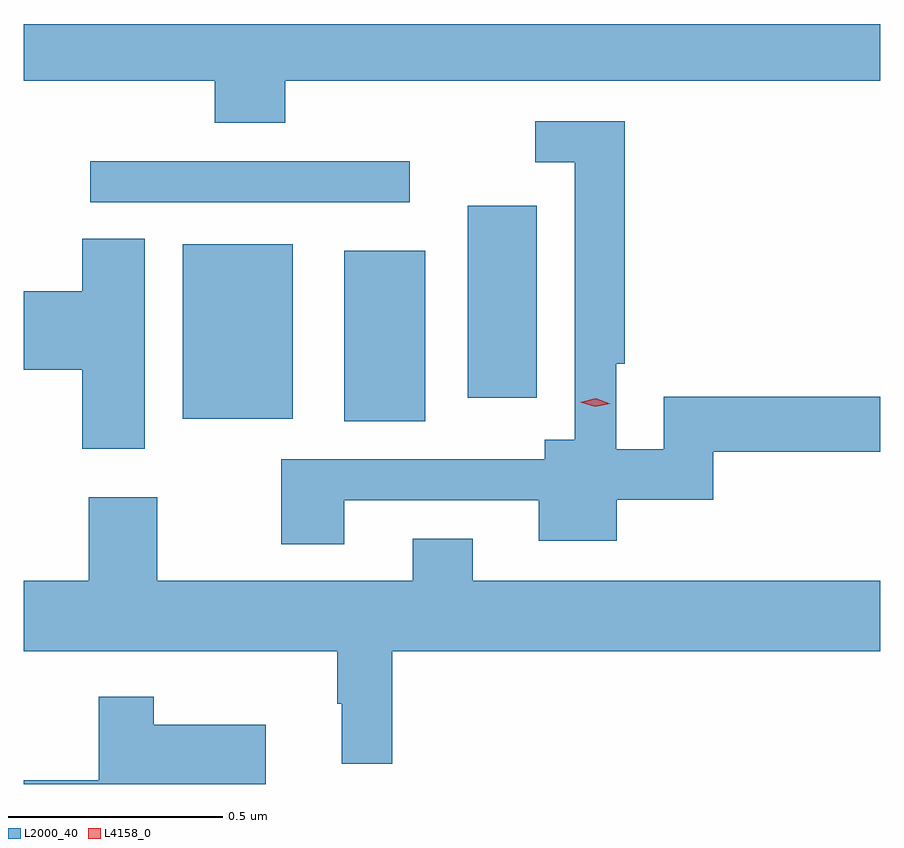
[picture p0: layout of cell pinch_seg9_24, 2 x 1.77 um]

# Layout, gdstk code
import gdstk
lib = gdstk.Library(unit=1e-6, precision=1e-09)
def R(c, l, rs):  # rectangles x0, y0, x1, y1
    for r in rs: c.add(gdstk.rectangle(r[:2], r[2:], *l))
def P(c, l, *ps):  # polygons
    for p in ps: c.add(gdstk.Polygon(p, *l))
L2000_40 = (2000, 40)
L4158_0 = (4158, 0)

pinch_seg9_24 = lib.new_cell('pinch_seg9_24')
R(pinch_seg9_24, L2000_40, [(949.178,1247.573,949.366,1247.971), (948.8,1247.579,949.057,1247.986), (949.466,1247.628,949.627,1248.076), (948.585,1248.084,949.33,1248.18)])
P(pinch_seg9_24, L2000_40, [(949.04,1248.368),(950.429,1248.368),(950.429,1248.5),(948.429,1248.5),(948.429,1248.368),(948.875,1248.368),(948.875,1248.269),(949.04,1248.269)],
  [(949.177,1247.388),(949.631,1247.388),(949.631,1247.294),(949.813,1247.294),(949.813,1247.39),(950.039,1247.39),(950.039,1247.502),(950.429,1247.502),(950.429,1247.63),(949.923,1247.63),(949.923,1247.507),(949.812,1247.507),(949.812,1247.707),(949.832,1247.707),(949.832,1248.273),(949.623,1248.273),(949.623,1248.177),(949.716,1248.177),(949.716,1247.53),(949.646,1247.53),(949.646,1247.484),(949.03,1247.484),(949.03,1247.286),(949.177,1247.286)],
  [(948.712,1247.999),(948.566,1247.999),(948.566,1247.876),(948.429,1247.876),(948.429,1247.693),(948.566,1247.693),(948.566,1247.508),(948.712,1247.508)],
  [(949.289,1247.036),(950.429,1247.036),(950.429,1247.2),(949.477,1247.2),(949.477,1247.299),(949.337,1247.299),(949.337,1247.2),(948.741,1247.2),(948.741,1247.395),(948.581,1247.395),(948.581,1247.2),(948.429,1247.2),(948.429,1247.036),(949.161,1247.036),(949.161,1246.913),(949.172,1246.913),(949.172,1246.773),(949.289,1246.773)],
  [(948.994,1246.864),(948.733,1246.864),(948.733,1246.93),(948.604,1246.93),(948.604,1246.735),(948.429,1246.735),(948.429,1246.726),(948.994,1246.726)])
P(pinch_seg9_24, L4158_0, [(949.763,1247.606),(949.728,1247.617),(949.728,1247.617),(949.728,1247.617),(949.764,1247.626),(949.798,1247.614),(949.798,1247.614),(949.798,1247.614)])

lib.write_gds('pinch_seg9_24.gds')
